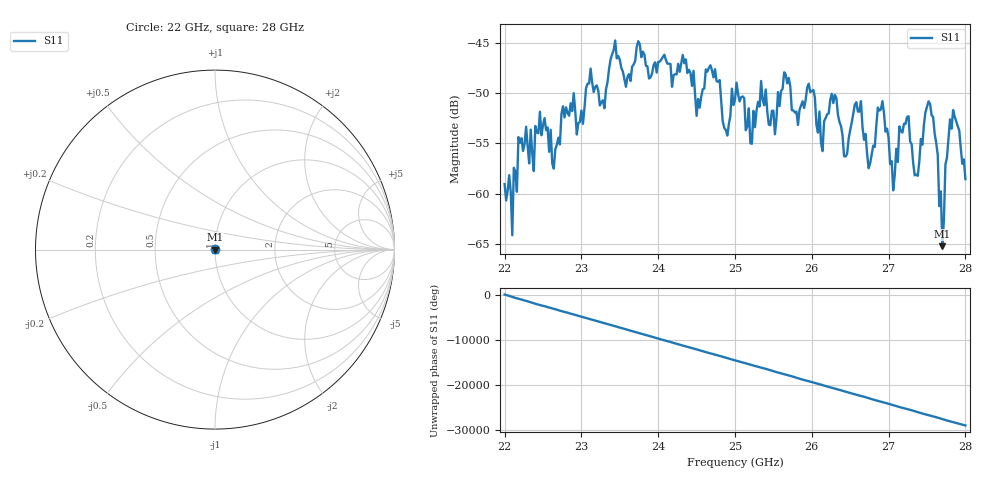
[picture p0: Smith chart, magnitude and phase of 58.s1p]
#  HZ  S  RI  R  50.00
! Rohde & Schwarz ZVA40 4Ports - Version 3.90 - 1145.1110k42 SN: 100403
! Date: 2023-10-04 06:30:39
! Measurement: S12
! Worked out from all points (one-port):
!   301 points, 22 GHz to 28 GHz, reference 50 ohm
!   lowest |S11| = -65.2 dB at 27.7 GHz (marker M1), VSWR 1.00, Z = 50 + j0.043 ohm
!   |S11| at or under -10 dB: start of sweep to end of sweep
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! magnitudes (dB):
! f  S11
! 22 GHz  -59.0
! 22.1 GHz  -64.1
! 22.12 GHz  -57.4
! 22.16 GHz  -59.8
! 22.18 GHz  -54.4
! 22.38 GHz  -57.8
! 22.46 GHz  -51.8
! 22.64 GHz  -57.5
! 22.76 GHz  -51.3
! 23.5 GHz  -46.7
! 24.26 GHz  -47.1
! 25 GHz  -50.6
! 25.22 GHz  -55.0
! 25.34 GHz  -48.8
! 25.52 GHz  -54.1
! 25.76 GHz  -51.7
! 26.5 GHz  -53.7
! 26.64 GHz  -50.8
! 26.74 GHz  -57.5
! 26.92 GHz  -50.8
! 27.06 GHz  -59.7
! 27.26 GHz  -52.3
! 27.38 GHz  -58.2
! 27.54 GHz  -51.1
! 27.7 GHz  -65.2
! 27.74 GHz  -57.1
! 27.84 GHz  -51.7
! 28 GHz  -58.6
